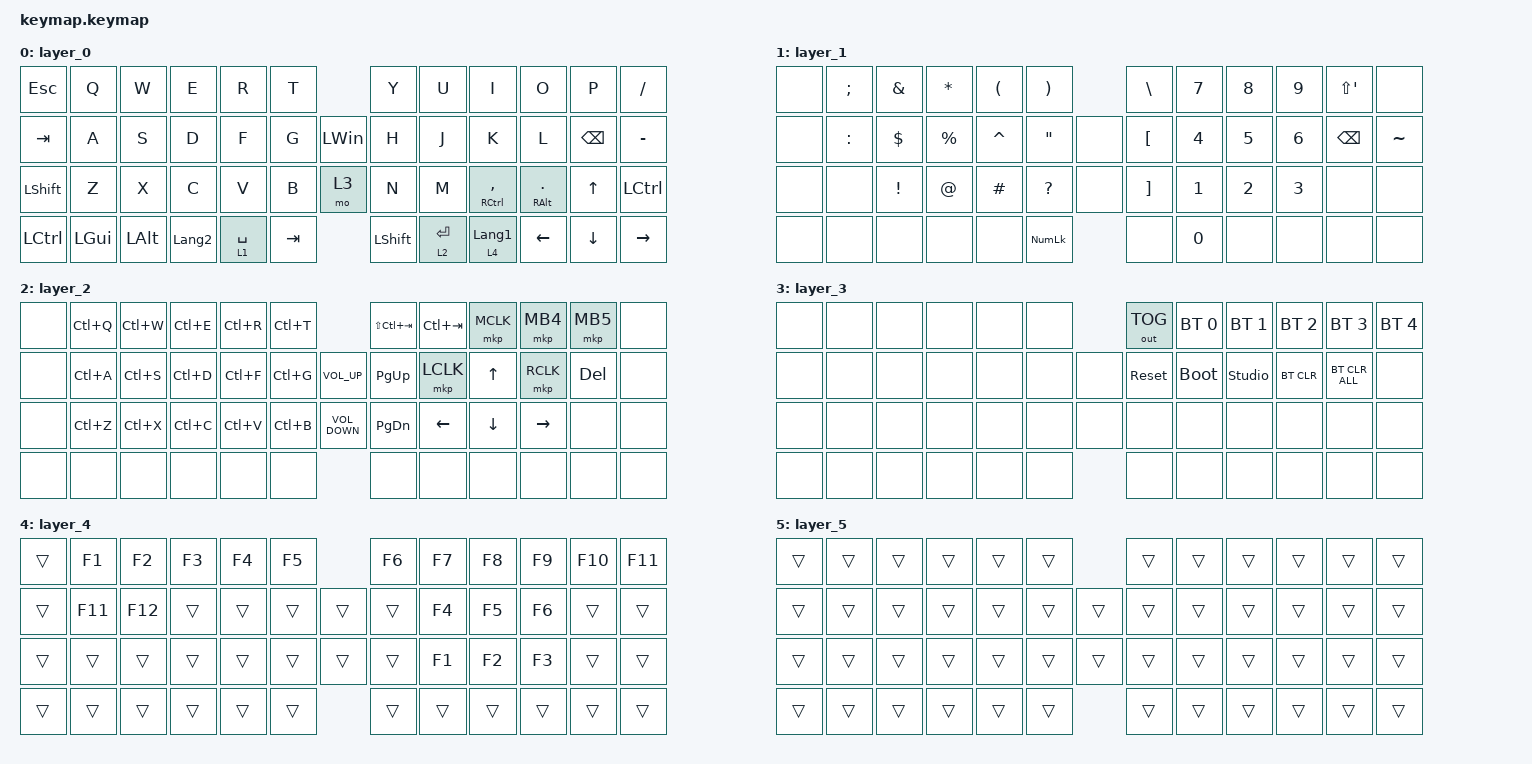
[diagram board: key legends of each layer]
#include <behaviors.dtsi>
#include <dt-bindings/zmk/bt.h>
#include <dt-bindings/zmk/keys.h>
#include <dt-bindings/zmk/outputs.h>
#include <dt-bindings/zmk/pointing.h>

/ {
    combos {
        compatible = "zmk,combos";

        lang1 {
            bindings = <&kp LANGUAGE_1>;
            key-positions = <19 20>;
            layers = <0>;
        };

        lang2 {
            bindings = <&kp LANG2>;
            key-positions = <17 16>;
            layers = <0>;
        };

        slash {
            bindings = <&kp SLASH>;
            key-positions = <7 8>;
            layers = <1>;
        };

        asterisk {
            bindings = <&kp ASTERISK>;
            key-positions = <8 9>;
            layers = <1>;
        };

        plus {
            bindings = <&kp PLUS>;
            key-positions = <22 21>;
            layers = <1>;
        };

        minus {
            bindings = <&kp MINUS>;
            key-positions = <20 21>;
            layers = <1>;
        };

        equal {
            bindings = <&kp EQUAL>;
            key-positions = <33 34>;
            layers = <1>;
        };

        period {
            bindings = <&kp PERIOD>;
            key-positions = <34 35>;
            layers = <1>;
        };

        left_crlick {
            bindings = <&mkp LCLK>;
            key-positions = <20 21>;
            layers = <0>;
        };

        right_click {
            bindings = <&mkp RCLK>;
            key-positions = <21 22>;
            layers = <0>;
        };

        middle_click {
            bindings = <&mkp MCLK>;
            key-positions = <21 8>;
            layers = <0>;
        };

        mute {
            bindings = <&kp C_MUTE>;
            key-positions = <18 31>;
            layers = <2>;
        };
    };

    keymap {
        compatible = "zmk,keymap";

        layer_0 {
            bindings = <
&kp ESC         &kp Q         &kp W         &kp E  &kp R           &kp T                                 &kp Y        &kp U             &kp I            &kp O                 &kp P          &kp SLASH
&kp TAB         &kp A         &kp S         &kp D  &kp F           &kp G                 &kp LEFT_WIN    &kp H        &kp J             &kp K            &kp L                 &kp BACKSPACE  &kp MINUS
&kp LEFT_SHIFT  &kp Z         &kp X         &kp C  &kp V           &kp B                 &mo 3           &kp N        &kp M             &mt RCTRL COMMA  &mt RIGHT_ALT PERIOD  &kp UP_ARROW   &kp LCTRL
&kp LCTRL       &kp LEFT_GUI  &kp LEFT_ALT         &kp LANGUAGE_2  &lt 1 SPACE  &kp TAB  &kp LEFT_SHIFT  &lt 2 ENTER  &lt 4 LANGUAGE_1                   &kp LEFT              &kp DOWN       &kp RIGHT
            >;
        };

        layer_1 {
            bindings = <
&none  &kp SEMICOLON  &kp AMPERSAND  &kp ASTERISK  &kp LEFT_PARENTHESIS  &kp RIGHT_PARENTHESIS                         &kp BACKSLASH      &kp N7        &kp N8        &kp N9        &kp LS(SQT)    &none
&none  &kp COLON      &kp DOLLAR     &kp PERCENT   &kp CARET             &kp DOUBLE_QUOTES                      &none  &kp LEFT_BRACKET   &kp NUMBER_4  &kp N5        &kp NUMBER_6  &kp BACKSPACE  &kp TILDE
&none  &none          &kp EXCL       &kp AT_SIGN   &kp HASH              &kp QUESTION                           &none  &kp RIGHT_BRACKET  &kp NUMBER_1  &kp NUMBER_2  &kp NUMBER_3  &none          &none
&none  &none          &none                        &none                 &none                  &kp KP_NUMLOCK  &none  &kp N0             &none                       &none         &none          &none
            >;
        };

        layer_2 {
            bindings = <
&none  &kp LC(Q)  &kp LC(W)  &kp LC(E)  &kp LC(R)  &kp LC(T)                            &kp LS(LC(TAB))  &kp LC(TAB)     &mkp MCLK       &mkp MB4         &mkp MB5  &none
&none  &kp LC(A)  &kp LC(S)  &kp LC(D)  &kp LC(F)  &kp LC(G)         &kp C_VOLUME_UP    &kp PAGE_UP      &mkp LCLK       &kp UP_ARROW    &mkp RCLK        &kp DEL   &none
&none  &kp LC(Z)  &kp LC(X)  &kp LC(C)  &kp LC(V)  &kp LC(B)         &kp C_VOLUME_DOWN  &kp PAGE_DOWN    &kp LEFT_ARROW  &kp DOWN_ARROW  &kp RIGHT_ARROW  &none     &none
&none  &none      &none                 &none      &none      &none  &none              &none            &none                           &none            &none     &none
            >;
        };

        layer_3 {
            bindings = <
&none  &none  &none  &none  &none  &none                &out OUT_TOG  &bt BT_SEL 0  &bt BT_SEL 1    &bt BT_SEL 2  &bt BT_SEL 3    &bt BT_SEL 4
&none  &none  &none  &none  &none  &none         &none  &sys_reset    &bootloader   &studio_unlock  &bt BT_CLR    &bt BT_CLR_ALL  &none
&none  &none  &none  &none  &none  &none         &none  &none         &none         &none           &none         &none           &none
&none  &none  &none         &none  &none  &none  &none  &none         &none                         &none         &none           &none
            >;
        };

        layer_4 {
            bindings = <
&trans  &kp F1   &kp F2   &kp F3  &kp F4  &kp F5                  &kp F6  &kp F7  &kp F8  &kp F9  &kp F10  &kp F11
&trans  &kp F11  &kp F12  &trans  &trans  &trans          &trans  &trans  &kp F4  &kp F5  &kp F6  &trans   &trans
&trans  &trans   &trans   &trans  &trans  &trans          &trans  &trans  &kp F1  &kp F2  &kp F3  &trans   &trans
&trans  &trans   &trans           &trans  &trans  &trans  &trans  &trans  &trans          &trans  &trans   &trans
            >;
        };

        layer_5 {
            bindings = <
&trans  &trans  &trans  &trans  &trans  &trans                  &trans  &trans  &trans  &trans  &trans  &trans
&trans  &trans  &trans  &trans  &trans  &trans          &trans  &trans  &trans  &trans  &trans  &trans  &trans
&trans  &trans  &trans  &trans  &trans  &trans          &trans  &trans  &trans  &trans  &trans  &trans  &trans
&trans  &trans  &trans          &trans  &trans  &trans  &trans  &trans  &trans          &trans  &trans  &trans
            >;
        };
    };
};
